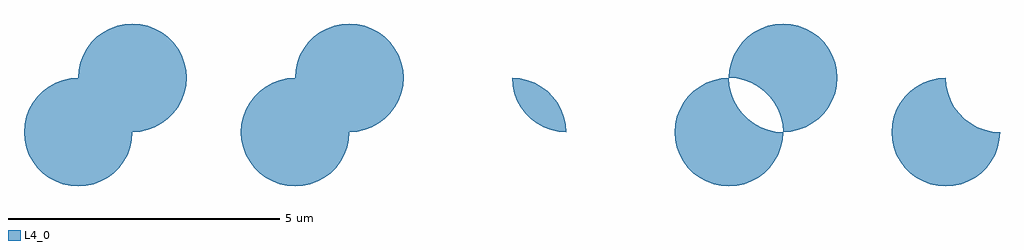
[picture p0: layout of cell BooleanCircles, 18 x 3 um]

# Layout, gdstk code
import gdstk
lib = gdstk.Library(unit=1e-6, precision=1e-09)
def P(c, l, *ps):  # polygons
    for p in ps: c.add(gdstk.Polygon(p, *l))
L4_0 = (4, 0)

booleancircles = lib.new_cell('BooleanCircles')
P(booleancircles, L4_0, [(0,-1),(-0.142,-0.99),(-0.282,-0.959),(-0.415,-0.91),(-0.541,-0.841),(-0.655,-0.756),(-0.756,-0.655),(-0.841,-0.541),(-0.91,-0.415),(-0.959,-0.282),(-0.99,-0.142),(-1,0),(-0.99,0.142),(-0.959,0.282),(-0.91,0.415),(-0.841,0.541),(-0.756,0.655),(-0.655,0.756),(-0.541,0.841),(-0.415,0.91),(-0.282,0.959),(-0.142,0.99),(0,1),(0.142,0.99),(0.282,0.959),(0.415,0.91),(0.541,0.841),(0.655,0.756),(0.756,0.655),(0.841,0.541),(0.91,0.415),(0.959,0.282),(0.99,0.142),(1,0),(0.99,-0.142),(0.959,-0.282),(0.91,-0.415),(0.841,-0.541),(0.756,-0.655),(0.655,-0.756),(0.541,-0.841),(0.415,-0.91),(0.282,-0.959),(0.142,-0.99)],
  [(1,0),(0.858,0.01),(0.718,0.041),(0.585,0.09),(0.459,0.159),(0.345,0.244),(0.244,0.345),(0.159,0.459),(0.09,0.585),(0.041,0.718),(0.01,0.858),(0,1),(0.01,1.142),(0.041,1.282),(0.09,1.415),(0.159,1.541),(0.244,1.655),(0.345,1.756),(0.459,1.841),(0.585,1.91),(0.718,1.959),(0.858,1.99),(1,2),(1.142,1.99),(1.282,1.959),(1.415,1.91),(1.541,1.841),(1.655,1.756),(1.756,1.655),(1.841,1.541),(1.91,1.415),(1.959,1.282),(1.99,1.142),(2,1),(1.99,0.858),(1.959,0.718),(1.91,0.585),(1.841,0.459),(1.756,0.345),(1.655,0.244),(1.541,0.159),(1.415,0.09),(1.282,0.041),(1.142,0.01)],
  [(4,-1),(3.858,-0.99),(3.718,-0.959),(3.585,-0.91),(3.459,-0.841),(3.345,-0.756),(3.244,-0.655),(3.159,-0.541),(3.09,-0.415),(3.041,-0.282),(3.01,-0.142),(3,0),(3.01,0.142),(3.041,0.282),(3.09,0.415),(3.159,0.541),(3.244,0.655),(3.345,0.756),(3.459,0.841),(3.585,0.91),(3.718,0.959),(3.858,0.99),(4,1),(4.01,1.142),(4.041,1.282),(4.09,1.415),(4.159,1.541),(4.244,1.655),(4.345,1.756),(4.459,1.841),(4.585,1.91),(4.718,1.959),(4.858,1.99),(5,2),(5.142,1.99),(5.282,1.959),(5.415,1.91),(5.541,1.841),(5.655,1.756),(5.756,1.655),(5.841,1.541),(5.91,1.415),(5.959,1.282),(5.99,1.142),(6,1),(5.99,0.858),(5.959,0.718),(5.91,0.585),(5.841,0.459),(5.756,0.345),(5.655,0.244),(5.541,0.159),(5.415,0.09),(5.282,0.041),(5.142,0.01),(5,0),(4.99,-0.142),(4.959,-0.282),(4.91,-0.415),(4.841,-0.541),(4.756,-0.655),(4.655,-0.756),(4.541,-0.841),(4.415,-0.91),(4.282,-0.959),(4.142,-0.99)],
  [(9,0),(8.858,0.01),(8.718,0.041),(8.585,0.09),(8.459,0.159),(8.345,0.244),(8.244,0.345),(8.159,0.459),(8.09,0.585),(8.041,0.718),(8.01,0.858),(8,1),(8.142,0.99),(8.282,0.959),(8.415,0.91),(8.541,0.841),(8.655,0.756),(8.756,0.655),(8.841,0.541),(8.91,0.415),(8.959,0.282),(8.99,0.142)],
  [(12,-1),(11.858,-0.99),(11.718,-0.959),(11.585,-0.91),(11.459,-0.841),(11.345,-0.756),(11.244,-0.655),(11.159,-0.541),(11.09,-0.415),(11.041,-0.282),(11.01,-0.142),(11,0),(11.01,0.142),(11.041,0.282),(11.09,0.415),(11.159,0.541),(11.244,0.655),(11.345,0.756),(11.459,0.841),(11.585,0.91),(11.718,0.959),(11.858,0.99),(12,1),(12.01,0.858),(12.041,0.718),(12.09,0.585),(12.159,0.459),(12.244,0.345),(12.345,0.244),(12.459,0.159),(12.585,0.09),(12.718,0.041),(12.858,0.01),(13,0),(12.99,-0.142),(12.959,-0.282),(12.91,-0.415),(12.841,-0.541),(12.756,-0.655),(12.655,-0.756),(12.541,-0.841),(12.415,-0.91),(12.282,-0.959),(12.142,-0.99)],
  [(13,0),(12.99,0.142),(12.959,0.282),(12.91,0.415),(12.841,0.541),(12.756,0.655),(12.655,0.756),(12.541,0.841),(12.415,0.91),(12.282,0.959),(12.142,0.99),(12,1),(12.01,1.142),(12.041,1.282),(12.09,1.415),(12.159,1.541),(12.244,1.655),(12.345,1.756),(12.459,1.841),(12.585,1.91),(12.718,1.959),(12.858,1.99),(13,2),(13.142,1.99),(13.282,1.959),(13.415,1.91),(13.541,1.841),(13.655,1.756),(13.756,1.655),(13.841,1.541),(13.91,1.415),(13.959,1.282),(13.99,1.142),(14,1),(13.99,0.858),(13.959,0.718),(13.91,0.585),(13.841,0.459),(13.756,0.345),(13.655,0.244),(13.541,0.159),(13.415,0.09),(13.282,0.041),(13.142,0.01)],
  [(16,-1),(15.858,-0.99),(15.718,-0.959),(15.585,-0.91),(15.459,-0.841),(15.345,-0.756),(15.244,-0.655),(15.159,-0.541),(15.09,-0.415),(15.041,-0.282),(15.01,-0.142),(15,0),(15.01,0.142),(15.041,0.282),(15.09,0.415),(15.159,0.541),(15.244,0.655),(15.345,0.756),(15.459,0.841),(15.585,0.91),(15.718,0.959),(15.858,0.99),(16,1),(16.01,0.858),(16.041,0.718),(16.09,0.585),(16.159,0.459),(16.244,0.345),(16.345,0.244),(16.459,0.159),(16.585,0.09),(16.718,0.041),(16.858,0.01),(17,0),(16.99,-0.142),(16.959,-0.282),(16.91,-0.415),(16.841,-0.541),(16.756,-0.655),(16.655,-0.756),(16.541,-0.841),(16.415,-0.91),(16.282,-0.959),(16.142,-0.99)])

lib.write_gds('BooleanCircles.gds')
